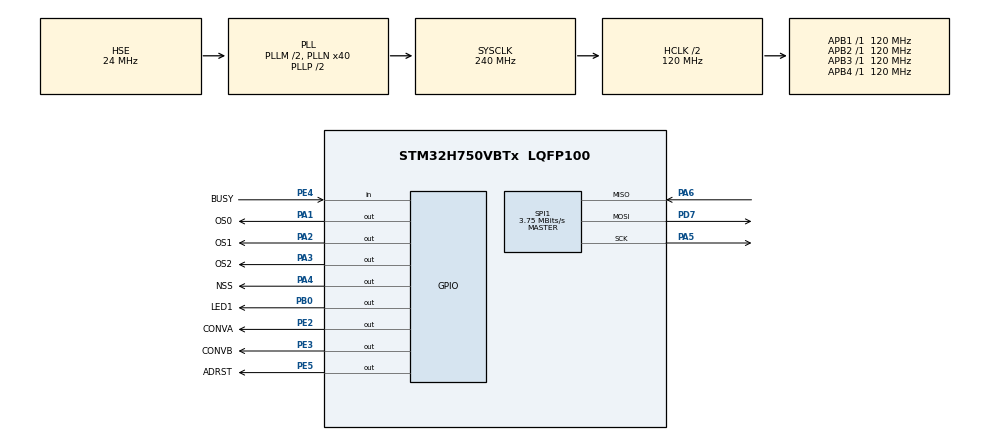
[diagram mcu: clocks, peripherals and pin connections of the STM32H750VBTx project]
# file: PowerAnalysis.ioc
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Dma.Request0=SPI1_RX
Dma.SPI1_RX.0.Direction=DMA_PERIPH_TO_MEMORY
Dma.SPI1_RX.0.EventEnable=DISABLE
Dma.SPI1_RX.0.FIFOMode=DMA_FIFOMODE_DISABLE
Dma.SPI1_RX.0.Instance=DMA1_Stream0
Dma.SPI1_RX.0.MemDataAlignment=DMA_MDATAALIGN_WORD
Dma.SPI1_RX.0.MemInc=DMA_MINC_ENABLE
Dma.SPI1_RX.0.Mode=DMA_CIRCULAR
Dma.SPI1_RX.0.PeriphDataAlignment=DMA_PDATAALIGN_WORD
Dma.SPI1_RX.0.PeriphInc=DMA_PINC_DISABLE
Dma.SPI1_RX.0.Polarity=HAL_DMAMUX_REQ_GEN_RISING
Dma.SPI1_RX.0.Priority=DMA_PRIORITY_LOW
Dma.SPI1_RX.0.RequestNumber=1
Dma.SPI1_RX.0.SignalID=NONE
Dma.SPI1_RX.0.SyncEnable=DISABLE
Dma.SPI1_RX.0.SyncPolarity=HAL_DMAMUX_SYNC_NO_EVENT
Dma.SPI1_RX.0.SyncRequestNumber=1
Dma.SPI1_RX.0.SyncSignalID=NONE
FREERTOS.BinarySemaphores01=adSample,Dynamic,NULL;adSampleCplt,Dynamic,NULL;FFTStart,Dynamic,NULL
FREERTOS.Tasks01=BlinkLED,24,128,tBlinkLED,As weak,NULL,Dynamic,NULL,NULL;ADCSample,32,128,tADCSample,As weak,NULL,Dynamic,NULL,NULL;CalulateFFT,8,128,tCalculateFFT,As weak,NULL,Dynamic,NULL,NULL
FREERTOS.configTOTAL_HEAP_SIZE=15360
FREERTOS.configUSE_PREEMPTION=1
Mcu.Family=STM32H7
Mcu.Name=STM32H750VBTx
Mcu.Package=LQFP100
NVIC.DMA1_Stream0_IRQn=true\:5\:0\:false\:true\:true\:2\:true\:false\:true
NVIC.PriorityGroup=NVIC_PRIORITYGROUP_4
NVIC.SPI1_IRQn=true\:5\:0\:false\:true\:true\:3\:true\:false\:true
NVIC.TIM15_IRQn=true\:0\:0\:false\:false\:true\:false\:false\:true
NVIC.TIM2_IRQn=true\:5\:0\:false\:true\:true\:1\:true\:true\:true
NVIC.TimeBase=TIM15_IRQn
NVIC.TimeBaseIP=TIM15
PA1.GPIO_Label=OS0
PA1.GPIO_PuPd=GPIO_PULLDOWN
PA1.Signal=GPIO_Output
PA13\ (JTMS/SWDIO).Mode=Serial_Wire
PA13\ (JTMS/SWDIO).Signal=DEBUG_JTMS-SWDIO
PA14\ (JTCK/SWCLK).Mode=Serial_Wire
PA14\ (JTCK/SWCLK).Signal=DEBUG_JTCK-SWCLK
PA2.GPIO_Label=OS1
PA2.GPIO_PuPd=GPIO_PULLDOWN
PA2.Signal=GPIO_Output
PA3.GPIO_Label=OS2
PA3.GPIO_PuPd=GPIO_PULLDOWN
PA3.PinState=GPIO_PIN_RESET
PA3.Signal=GPIO_Output
PA4.GPIO_Label=NSS
PA4.GPIO_PuPd=GPIO_NOPULL
PA4.PinState=GPIO_PIN_SET
PA4.Signal=GPIO_Output
PA5.GPIO_Speed=GPIO_SPEED_FREQ_HIGH
PA5.Mode=Full_Duplex_Master
PA5.Signal=SPI1_SCK
PA6.GPIO_Speed=GPIO_SPEED_FREQ_HIGH
PA6.Mode=Full_Duplex_Master
PA6.Signal=SPI1_MISO
PB0.GPIO_Label=LED1
PB0.GPIO_PuPd=GPIO_PULLDOWN
PB0.PinState=GPIO_PIN_RESET
PB0.Signal=GPIO_Output
PD7.GPIO_Speed=GPIO_SPEED_FREQ_HIGH
PD7.Mode=Full_Duplex_Master
PD7.Signal=SPI1_MOSI
PE2.GPIO_Label=CONVA
PE2.GPIO_PuPd=GPIO_PULLDOWN
PE2.GPIO_Speed=GPIO_SPEED_FREQ_HIGH
PE2.PinState=GPIO_PIN_SET
PE2.Signal=GPIO_Output
PE3.GPIO_Label=CONVB
PE3.GPIO_PuPd=GPIO_PULLDOWN
PE3.GPIO_Speed=GPIO_SPEED_FREQ_HIGH
PE3.PinState=GPIO_PIN_SET
PE3.Signal=GPIO_Output
PE4.GPIO_Label=BUSY
PE4.GPIO_PuPd=GPIO_PULLUP
PE4.Signal=GPIO_Input
PE5.GPIO_Label=ADRST
PE5.GPIO_PuPd=GPIO_PULLDOWN
PE5.Signal=GPIO_Output
PH0-OSC_IN\ (PH0).Mode=HSE-External-Oscillator
PH0-OSC_IN\ (PH0).Signal=RCC_OSC_IN
PH1-OSC_OUT\ (PH1).Mode=HSE-External-Oscillator
PH1-OSC_OUT\ (PH1).Signal=RCC_OSC_OUT
ProjectManager.HeapSize=0x40000
ProjectManager.StackSize=0x20000
ProjectManager.TargetToolchain=STM32CubeIDE
RCC.ADCFreq_Value=75000000
RCC.APB1Freq_Value=120000000
RCC.APB2Freq_Value=120000000
RCC.APB3Freq_Value=120000000
RCC.APB4Freq_Value=120000000
RCC.CortexFreq_Value=240000000
RCC.DIVM1=2
RCC.DIVM2=24
RCC.DIVN1=40
RCC.DIVN2=150
RCC.HCLKFreq_Value=120000000
RCC.HPRE=RCC_HCLK_DIV2
RCC.HSE_VALUE=24000000
RCC.PLLSourceVirtual=RCC_PLLSOURCE_HSE
RCC.SYSCLKFreq_VALUE=240000000
RCC.SYSCLKSource=RCC_SYSCLKSOURCE_PLLCLK
RCC.USBFreq_Value=240000000
SPI1.BaudRatePrescaler=SPI_BAUDRATEPRESCALER_64
SPI1.CLKPhase=SPI_PHASE_1EDGE
SPI1.CLKPolarity=SPI_POLARITY_LOW
SPI1.CalculateBaudRate=3.75 MBits/s
SPI1.DataSize=SPI_DATASIZE_16BIT
SPI1.Direction=SPI_DIRECTION_2LINES
SPI1.FifoThreshold=SPI_FIFO_THRESHOLD_01DATA
SPI1.Mode=SPI_MODE_MASTER
SPI1.NSSPMode=SPI_NSS_PULSE_DISABLE
SPI1.VirtualType=VM_MASTER
TIM2.Period=14647
TIM2.Prescaler=0
VP_FREERTOS_VS_CMSIS_V2.Mode=CMSIS_V2
VP_SYS_VS_tim15.Mode=TIM15
VP_TIM2_VS_ClockSourceINT.Mode=Internal
board=custom

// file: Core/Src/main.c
/* USER CODE BEGIN Header */
/**
  ******************************************************************************
  * @file           : main.c
  * @brief          : Main program body
  ******************************************************************************
  * @attention
  *
  * <h2><center>&copy; Copyright (c) 2020 STMicroelectronics.
  * All rights reserved.</center></h2>
  *
  * This software component is licensed by ST under Ultimate Liberty license
  * SLA0044, the "License"; You may not use this file except in compliance with
  * the License. You may obtain a copy of the License at:
  *                             www.st.com/SLA0044
  *
  ******************************************************************************
  */
/* USER CODE END Header */

#include "main.h"
#include "cmsis_os.h"
#include "dma.h"
#include "spi.h"
#include "tim.h"
#include "gpio.h"

/* USER CODE BEGIN Includes */
#include "stdint.h"
#include "AD7606.h"
#include "stdlib.h"
/* USER CODE END Includes */

/* USER CODE BEGIN PV */
uint32_t timCnt = 0;
uint16_t transcnt = 0;

uint8_t trans = 0;
uint16_t transcplt = 1;
extern osSemaphoreId adSampleCpltHandle;
extern osSemaphoreId FFTStartHandle;
extern uint8_t firstFlag;
extern uint16_t transcplt;
float data[4096] = {0};
uint16_t dataCnt = 0;
extern uint16_t buf[];

uint16_t freqBuf[1000] = {0};
uint16_t freqIndex = 0;
float freq = -1;
/* USER CODE END PV */

void SystemClock_Config(void);
void MX_FREERTOS_Init(void);
static void MX_NVIC_Init(void);

int main(void)
{

  /* MCU Configuration--------------------------------------------------------*/

  /* Reset of all peripherals, Initializes the Flash interface and the Systick. */
  HAL_Init();

  /* Configure the system clock */
  SystemClock_Config();

  /* Initialize all configured peripherals */
  MX_GPIO_Init();
  MX_SPI1_Init();
  MX_TIM2_Init();
  MX_DMA_Init();

  /* Initialize interrupts */
  MX_NVIC_Init();

  /* Call init function for freertos objects (in freertos.c) */
  MX_FREERTOS_Init();

  /* Start scheduler */
  osKernelStart();

  /* We should never get here as control is now taken by the scheduler */

  /* Infinite loop */
  while (1)
  {

  }
}

void SystemClock_Config(void)
{
  RCC_OscInitTypeDef RCC_OscInitStruct = {0};
  RCC_ClkInitTypeDef RCC_ClkInitStruct = {0};
  RCC_PeriphCLKInitTypeDef PeriphClkInitStruct = {0};

  /** Supply configuration update enable
  */
  HAL_PWREx_ConfigSupply(PWR_LDO_SUPPLY);
  /** Configure the main internal regulator output voltage
  */
  __HAL_PWR_VOLTAGESCALING_CONFIG(PWR_REGULATOR_VOLTAGE_SCALE2);

  while(!__HAL_PWR_GET_FLAG(PWR_FLAG_VOSRDY)) {}
  /** Initializes the CPU, AHB and APB busses clocks
  */
  RCC_OscInitStruct.OscillatorType = RCC_OSCILLATORTYPE_HSE;
  RCC_OscInitStruct.HSEState = RCC_HSE_ON;
  RCC_OscInitStruct.PLL.PLLState = RCC_PLL_ON;
  RCC_OscInitStruct.PLL.PLLSource = RCC_PLLSOURCE_HSE;
  RCC_OscInitStruct.PLL.PLLM = 2;
  RCC_OscInitStruct.PLL.PLLN = 40;
  RCC_OscInitStruct.PLL.PLLP = 2;
  RCC_OscInitStruct.PLL.PLLQ = 2;
  RCC_OscInitStruct.PLL.PLLR = 2;
  RCC_OscInitStruct.PLL.PLLRGE = RCC_PLL1VCIRANGE_3;
  RCC_OscInitStruct.PLL.PLLVCOSEL = RCC_PLL1VCOWIDE;
  RCC_OscInitStruct.PLL.PLLFRACN = 0;
  if (HAL_RCC_OscConfig(&RCC_OscInitStruct) != HAL_OK)
  {
    Error_Handler();
  }
  /** Initializes the CPU, AHB and APB busses clocks
  */
  RCC_ClkInitStruct.ClockType = RCC_CLOCKTYPE_HCLK|RCC_CLOCKTYPE_SYSCLK
                              |RCC_CLOCKTYPE_PCLK1|RCC_CLOCKTYPE_PCLK2
                              |RCC_CLOCKTYPE_D3PCLK1|RCC_CLOCKTYPE_D1PCLK1;
  RCC_ClkInitStruct.SYSCLKSource = RCC_SYSCLKSOURCE_PLLCLK;
  RCC_ClkInitStruct.SYSCLKDivider = RCC_SYSCLK_DIV1;
  RCC_ClkInitStruct.AHBCLKDivider = RCC_HCLK_DIV2;
  RCC_ClkInitStruct.APB3CLKDivider = RCC_APB3_DIV1;
  RCC_ClkInitStruct.APB1CLKDivider = RCC_APB1_DIV1;
  RCC_ClkInitStruct.APB2CLKDivider = RCC_APB2_DIV1;
  RCC_ClkInitStruct.APB4CLKDivider = RCC_APB4_DIV1;

  if (HAL_RCC_ClockConfig(&RCC_ClkInitStruct, FLASH_LATENCY_1) != HAL_OK)
  {
    Error_Handler();
  }
  PeriphClkInitStruct.PeriphClockSelection = RCC_PERIPHCLK_SPI1;
  PeriphClkInitStruct.Spi123ClockSelection = RCC_SPI123CLKSOURCE_PLL;
  if (HAL_RCCEx_PeriphCLKConfig(&PeriphClkInitStruct) != HAL_OK)
  {
    Error_Handler();
  }
}

/**
  * @brief NVIC Configuration.
  * @retval None
  */
static void MX_NVIC_Init(void)
{
  /* TIM2_IRQn interrupt configuration */
  HAL_NVIC_SetPriority(TIM2_IRQn, 5, 0);
  HAL_NVIC_EnableIRQ(TIM2_IRQn);
  /* DMA1_Stream0_IRQn interrupt configuration */
  HAL_NVIC_SetPriority(DMA1_Stream0_IRQn, 5, 0);
  HAL_NVIC_EnableIRQ(DMA1_Stream0_IRQn);
  /* SPI1_IRQn interrupt configuration */
  HAL_NVIC_SetPriority(SPI1_IRQn, 5, 0);
  HAL_NVIC_EnableIRQ(SPI1_IRQn);
}

/* USER CODE BEGIN 4 */
void HAL_SPI_RxCpltCallback(SPI_HandleTypeDef * hspi)
{

	if(hspi == &hspi1)
  {

		transcnt += 1;
		if(transcnt%4 == 0)
		{
			if(dataCnt < 4096)
				data[dataCnt] = buf[1];	//Store CH2 data
			dataCnt +=1;
		}

		if(abs(buf[1]-6850) < 10)		//Calculate frequency
		{
			if(freqIndex == 0 || transcnt-freqBuf[freqIndex-1] > 40)
			{
				freqBuf[freqIndex] = transcnt;
				if(freqIndex < 999)	//When freq is too low
					freqIndex += 1;
				else
					freq = 0;

			}

		}

    transcplt = 1;

    if(dataCnt == 10240)		//Sample in 1(5) sec
    {
			if(freq != 0)
				freq = 120000000.0/14648/(freqBuf[400]-freqBuf[0])*200;	//Calculate freq
			freqIndex = 0;
			transcnt = 0;

      transcplt = 0;
		  osSemaphoreRelease(FFTStartHandle);		//Start FFT
      dataCnt = 0;
    }
	}
}
/* USER CODE END 4 */

void HAL_TIM_PeriodElapsedCallback(TIM_HandleTypeDef *htim)
{
  if (htim->Instance == TIM15) {
    HAL_IncTick();
  }
  /* USER CODE BEGIN Callback 1 */
	if (htim->Instance == TIM2) {
		if(firstFlag){
			timCnt+=1;
			trans = 1;

			if(transcplt==1){
				transcplt = 0;
				osSemaphoreRelease(adSampleCpltHandle);
			}
		}
	}
  /* USER CODE END Callback 1 */
}

void Error_Handler(void)
{
}

/************************ (C) COPYRIGHT STMicroelectronics *****END OF FILE****/

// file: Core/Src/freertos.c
/* USER CODE BEGIN Header */
/**
  ******************************************************************************
  * File Name          : freertos.c
  * Description        : Code for freertos applications
  ******************************************************************************
  * @attention
  *
  * <h2><center>&copy; Copyright (c) 2020 STMicroelectronics.
  * All rights reserved.</center></h2>
  *
  * This software component is licensed by ST under Ultimate Liberty license
  * SLA0044, the "License"; You may not use this file except in compliance with
  * the License. You may obtain a copy of the License at:
  *                             www.st.com/SLA0044
  *
  ******************************************************************************
  */
/* USER CODE END Header */

#include "FreeRTOS.h"
#include "task.h"
#include "main.h"
#include "cmsis_os.h"

/* USER CODE BEGIN Includes */
#include "pacommon.h"
/* USER CODE END Includes */

osThreadId_t BlinkLEDHandle;
osThreadId_t ADCSampleHandle;
osThreadId_t CalulateFFTHandle;
osSemaphoreId_t adSampleHandle;
osSemaphoreId_t adSampleCpltHandle;
osSemaphoreId_t FFTStartHandle;

void tBlinkLED(void *argument);
void tADCSample(void *argument);
void tCalculateFFT(void *argument);

void MX_FREERTOS_Init(void); /* (MISRA C 2004 rule 8.1) */

void MX_FREERTOS_Init(void) {
  /* USER CODE BEGIN Init */
  PAGlobalInit();

  /* USER CODE END Init */
osKernelInitialize();

  /* Create the semaphores(s) */
  /* definition and creation of adSample */
  const osSemaphoreAttr_t adSample_attributes = {
    .name = "adSample"
  };
  adSampleHandle = osSemaphoreNew(1, 1, &adSample_attributes);

  /* definition and creation of adSampleCplt */
  const osSemaphoreAttr_t adSampleCplt_attributes = {
    .name = "adSampleCplt"
  };
  adSampleCpltHandle = osSemaphoreNew(1, 1, &adSampleCplt_attributes);

  /* definition and creation of FFTStart */
  const osSemaphoreAttr_t FFTStart_attributes = {
    .name = "FFTStart"
  };
  FFTStartHandle = osSemaphoreNew(1, 1, &FFTStart_attributes);

  /* Create the thread(s) */
  /* definition and creation of BlinkLED */
  const osThreadAttr_t BlinkLED_attributes = {
    .name = "BlinkLED",
    .priority = (osPriority_t) osPriorityNormal,
    .stack_size = 128
  };
  BlinkLEDHandle = osThreadNew(tBlinkLED, NULL, &BlinkLED_attributes);

  /* definition and creation of ADCSample */
  const osThreadAttr_t ADCSample_attributes = {
    .name = "ADCSample",
    .priority = (osPriority_t) osPriorityAboveNormal,
    .stack_size = 128
  };
  ADCSampleHandle = osThreadNew(tADCSample, NULL, &ADCSample_attributes);

  /* definition and creation of CalulateFFT */
  const osThreadAttr_t CalulateFFT_attributes = {
    .name = "CalulateFFT",
    .priority = (osPriority_t) osPriorityLow,
    .stack_size = 128
  };
  CalulateFFTHandle = osThreadNew(tCalculateFFT, NULL, &CalulateFFT_attributes);

}

__weak void tBlinkLED(void *argument)
{
  for(;;)
  {
    osDelay(1);
  }
}

__weak void tADCSample(void *argument)
{
  for(;;)
  {
    osDelay(1);
  }
}

__weak void tCalculateFFT(void *argument)
{
  for(;;)
  {
    osDelay(1);
  }
}

/************************ (C) COPYRIGHT STMicroelectronics *****END OF FILE****/
